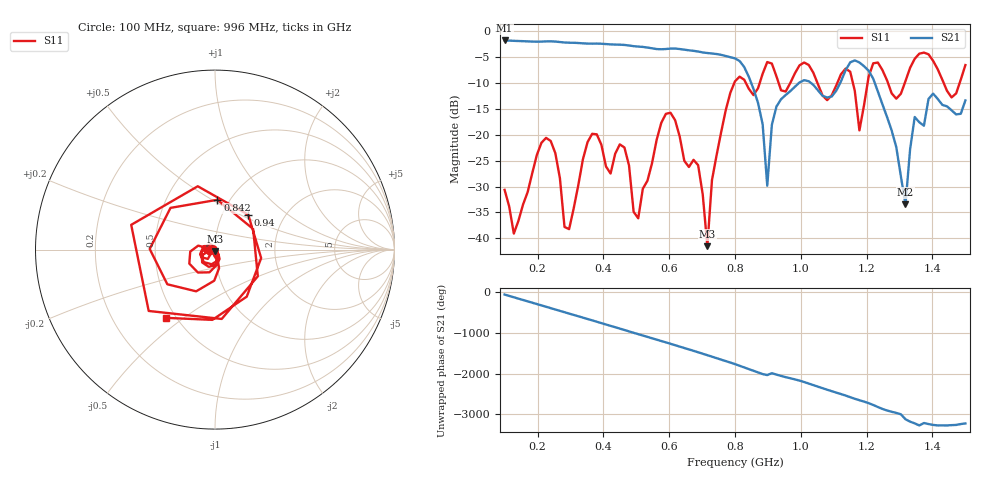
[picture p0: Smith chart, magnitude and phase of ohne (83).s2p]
! NanoVNA-App
! Date: 2025-09-25 14:21:27
! Start: 100MHz Stop: 1,5GHz Points: 101
! S-Parameter data: F S11 S21 S12 S22
# Hz S RI R 50
!  Frequency  S11_Real  S11_Imag  S21_Real  S21_Imag  S12_Real  S12_Imag  S22_Real  S22_Imag
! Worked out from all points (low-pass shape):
!   101 points, 100 MHz to 1.5 GHz, reference 50 ohm
!   highest |S21| = -1.79 dB at 100 MHz (marker M1); lowest = -33.4 dB at 1.318 GHz (marker M2)
!   |S21| within 3 dB of the highest: start of sweep to 771.9 MHz
!   lowest |S11| = -41.5 dB at 716 MHz (marker M3), VSWR 1.02, Z = 49.8 - j0.815 ohm
!   |S11| at or under -10 dB: start of sweep to 797.9 MHz; 833 MHz to 875.1 MHz (42.1 MHz wide, 4.93 % of centre); 1.05 GHz to 1.111 GHz (60.44 MHz wide, 5.59 % of centre) (the widest 3 of 7)
!   S12 and S22 are empty: the file has one direction only
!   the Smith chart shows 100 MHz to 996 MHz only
!   S11 on the Smith chart (normalised r, x): 100 MHz: 0.94, -0.01; 842 MHz: 0.88, +0.53; 940 MHz: 1.32, +0.55; 996 MHz: 0.44, -0.43
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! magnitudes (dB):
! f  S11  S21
! 100 MHz  -30.6  -1.8
! 128 MHz  -39.1  -1.9
! 226 MHz  -20.6  -2.0
! 296 MHz  -38.2  -2.2
! 338 MHz  -24.7  -2.3
! 464 MHz  -22.5  -2.7
! 506 MHz  -36.1  -3.0
! 576 MHz  -17.7  -3.5
! 688 MHz  -25.9  -3.9
! 716 MHz  -41.5  -4.2
! 800 MHz  -9.7  -5.3
! 842 MHz  -11.1  -8.8
! 898 MHz  -6.0  -29.8
! 940 MHz  -11.4  -13.1
! 996 MHz  -6.6  -9.9
! 1.038 GHz  -8.0  -10.4
! 1.178 GHz  -19.2  -6.0
! 1.22 GHz  -6.2  -9.2
! 1.276 GHz  -12.0  -19.2
! 1.318 GHz  -9.6  -33.4
! 1.346 GHz  -5.3  -16.6
! 1.5 GHz  -6.5  -13.4
